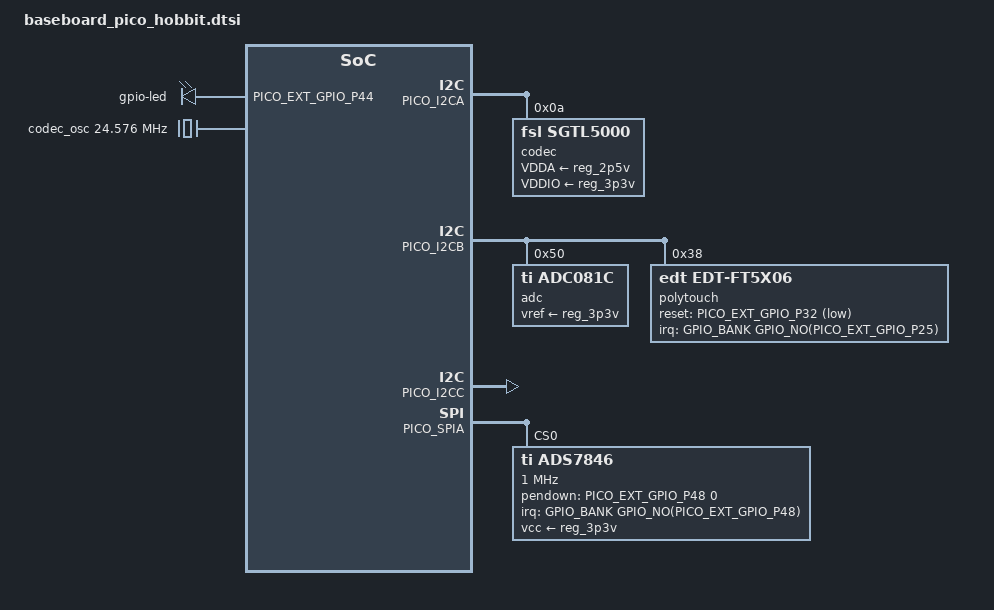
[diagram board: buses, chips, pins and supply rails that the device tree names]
/*
 * Copyright 2018 Technexion Ltd.
 *
 * Author: Tapani Utriainen <tapani@technexion.com>
 *         Richard Hu <richard.hu@technexion.com>
 *
 * This program is free software; you can redistribute it and/or modify
 * it under the terms of the GNU General Public License version 2 as
 * published by the Free Software Foundation.
 *
 */

#include "tnmacro.h"

/*
 * Difference between hobbit baseboard FL and GL version
 *
 *			  FL                GL
 * ethernet PHY       10_100m LAN        Giga LAN
 * ethernet Reset     PICO_PIN_P42       PICO_PIN_P37
 */

/ {
	sound {
		compatible = "fsl,imx-sgtl5000",
			     "fsl,imx-audio-sgtl5000";
		model = "audio-sgtl5000";
		ssi-controller = <&PICO_AUDA_I2S_CHANNEL>;
		audio-codec = <&codec>;
		audio-routing =
			"MIC_IN", "Mic Jack",
			"Mic Jack", "Mic Bias",
			"Headphone Jack", "HP_OUT";
#if defined(PICO_AUDA_MUX_INT) && defined(PICO_AUDA_MUX_EXT)
		mux-int-port = <PICO_AUDA_MUX_INT>;
		mux-ext-port = <PICO_AUDA_MUX_EXT>;
#else
		fsl,no-audmux = "true";
#endif


	};

	gpio-leds {
		compatible = "gpio-leds";

		led {
			label = "gpio-led";
			gpios = <&PICO_EXT_GPIO_P44 GPIO_ACTIVE_HIGH>; /* PICO_P44 */
		};
	};

	clocks {
		codec_osc: aud_mclk {
			compatible = "fixed-clock";
			#clock-cells = <0>;
			clock-frequency = <24576000>;
		};
	};
};

PICO_HOBBIT_GPIO_DEFS();

&PICO_I2CA {
	status = "okay";

	codec: sgtl5000@a {
		compatible = "fsl,sgtl5000";
		reg = <0x0a>;
		clocks = <&codec_osc>;
		VDDA-supply = <&reg_2p5v>;
		VDDIO-supply = <&reg_3p3v>;
	};
};

&PICO_I2CB {
	status = "okay";

	adc: adc081c@50 {
		compatible = "ti,adc081c";
		reg = <0x50>;
		vref-supply = <&reg_3p3v>;
	};

	polytouch: edt-ft5x06@38 {
		compatible = "edt,edt-ft5x06";
		reg = <0x38>;
		interrupt-parent = <&GPIO_BANK(PICO_EXT_GPIO_P25)>; /* PICO_P25 */
		interrupts = <GPIO_NO(PICO_EXT_GPIO_P25) 0>;
		reset-gpios = <&PICO_EXT_GPIO_P32 GPIO_ACTIVE_LOW>; /* PICO_P32 */
		touchscreen-size-x = <800>;
		touchscreen-size-y = <480>;
	};
};

&PICO_I2CC {
	status = "okay";
};

&PICO_SPIA {
	status = "okay";

	ads7846@0 {
		reg = <0>;  /* CS0 */
		compatible = "ti,ads7846";
		interrupt-parent = <&GPIO_BANK(PICO_EXT_GPIO_P48)>; /* PICO_P48 */
		interrupts = <GPIO_NO(PICO_EXT_GPIO_P48) 0>;
		spi-max-frequency = <1000000>;
		pendown-gpio = <&PICO_EXT_GPIO_P48 0>; /* PICO_P48 */
		vcc-supply = <&reg_3p3v>;

		ti,x-min = /bits/ 16 <0>;
		ti,x-max = /bits/ 16 <4095>;
		ti,y-min = /bits/ 16 <0>;
		ti,y-max = /bits/ 16 <4095>;
		ti,pressure-max = /bits/ 16 <1024>;
		ti,x-plate-ohms = /bits/ 16 <90>;
		ti,y-plate-ohms = /bits/ 16 <90>;
		ti,debounce-max = /bits/ 16 <70>;
		ti,debounce-tol = /bits/ 16 <3>;
		ti,debounce-rep = /bits/ 16 <2>;
		ti,settle-delay-usec = /bits/ 16 <150>;

		linux,wakeup;
	};
};

